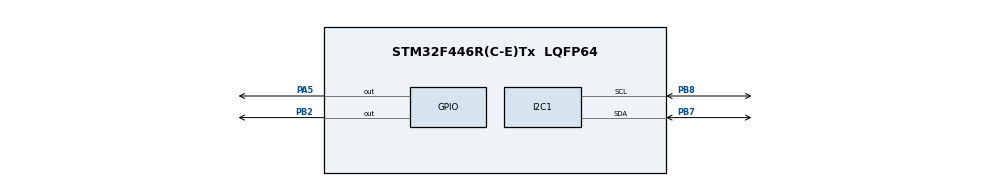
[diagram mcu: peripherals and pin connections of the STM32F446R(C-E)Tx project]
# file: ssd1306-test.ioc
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Mcu.Family=STM32F4
Mcu.Name=STM32F446R(C-E)Tx
Mcu.Package=LQFP64
NVIC.PriorityGroup=NVIC_PRIORITYGROUP_4
PA5.Signal=GPIO_Output
PB2.Signal=GPIO_Output
PB7.Mode=I2C
PB7.Signal=I2C1_SDA
PB8.Mode=I2C
PB8.Signal=I2C1_SCL
ProjectManager.HeapSize=0x200
ProjectManager.StackSize=0x400
ProjectManager.TargetToolchain=STM32CubeIDE
RCC.CortexFreq_Value=16000000
RCC.USBFreq_Value=96000000
RCC.VCOOutputFreq_Value=192000000
board=custom

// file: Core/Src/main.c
/* USER CODE BEGIN Header */
/**
  ******************************************************************************
  * @file           : main.c
  * @brief          : Main program body
  ******************************************************************************
  * @attention
  *
  * Copyright (c) 2024 STMicroelectronics.
  * All rights reserved.
  *
  * This software is licensed under terms that can be found in the LICENSE file
  * in the root directory of this software component.
  * If no LICENSE file comes with this software, it is provided AS-IS.
  *
  ******************************************************************************
  */
/* USER CODE END Header */
#include "main.h"

/* USER CODE BEGIN PD */
#include "ssd1306.h"
#include "fonts.h"
/* USER CODE END PD */

I2C_HandleTypeDef hi2c1;

void SystemClock_Config(void);
static void MX_GPIO_Init(void);
static void MX_I2C1_Init(void);

int main(void)
{

  /* MCU Configuration--------------------------------------------------------*/

  /* Reset of all peripherals, Initializes the Flash interface and the Systick. */
  HAL_Init();

  /* Configure the system clock */
  SystemClock_Config();

  /* Initialize all configured peripherals */
  MX_GPIO_Init();
  MX_I2C1_Init();
  /* USER CODE BEGIN 2 */
  	ssd1306_Init(&hi2c1);
	HAL_Delay(1000);
	ssd1306_Fill(Black);
	ssd1306_UpdateScreen(&hi2c1);

	HAL_Delay(1000);
	ssd1306_SetCursor(7,13);
	ssd1306_WriteString("Tomoshibi",Font_11x18,White);
	ssd1306_SetCursor(12,33);
	ssd1306_WriteString("Technology",Font_11x18,Black);

	ssd1306_UpdateScreen(&hi2c1);
  /* USER CODE END 2 */

  /* Infinite loop */
  /* USER CODE BEGIN WHILE */
HAL_GPIO_WritePin(GPIOA, GPIO_PIN_5, GPIO_PIN_SET);
  while (1)
  {
	HAL_GPIO_TogglePin(GPIOA, GPIO_PIN_5);
	HAL_GPIO_TogglePin(GPIOB, GPIO_PIN_2);
	HAL_Delay(100);
    /* USER CODE END WHILE */

  }
}

void SystemClock_Config(void)
{
  RCC_OscInitTypeDef RCC_OscInitStruct = {0};
  RCC_ClkInitTypeDef RCC_ClkInitStruct = {0};

  /** Configure the main internal regulator output voltage
  */
  __HAL_RCC_PWR_CLK_ENABLE();
  __HAL_PWR_VOLTAGESCALING_CONFIG(PWR_REGULATOR_VOLTAGE_SCALE3);

  /** Initializes the RCC Oscillators according to the specified parameters
  * in the RCC_OscInitTypeDef structure.
  */
  RCC_OscInitStruct.OscillatorType = RCC_OSCILLATORTYPE_HSI;
  RCC_OscInitStruct.HSIState = RCC_HSI_ON;
  RCC_OscInitStruct.HSICalibrationValue = RCC_HSICALIBRATION_DEFAULT;
  RCC_OscInitStruct.PLL.PLLState = RCC_PLL_NONE;
  if (HAL_RCC_OscConfig(&RCC_OscInitStruct) != HAL_OK)
  {
    Error_Handler();
  }

  /** Initializes the CPU, AHB and APB buses clocks
  */
  RCC_ClkInitStruct.ClockType = RCC_CLOCKTYPE_HCLK|RCC_CLOCKTYPE_SYSCLK
                              |RCC_CLOCKTYPE_PCLK1|RCC_CLOCKTYPE_PCLK2;
  RCC_ClkInitStruct.SYSCLKSource = RCC_SYSCLKSOURCE_HSI;
  RCC_ClkInitStruct.AHBCLKDivider = RCC_SYSCLK_DIV1;
  RCC_ClkInitStruct.APB1CLKDivider = RCC_HCLK_DIV1;
  RCC_ClkInitStruct.APB2CLKDivider = RCC_HCLK_DIV1;

  if (HAL_RCC_ClockConfig(&RCC_ClkInitStruct, FLASH_LATENCY_0) != HAL_OK)
  {
    Error_Handler();
  }
}

static void MX_I2C1_Init(void)
{

  hi2c1.Instance = I2C1;
  hi2c1.Init.ClockSpeed = 100000;
  hi2c1.Init.DutyCycle = I2C_DUTYCYCLE_2;
  hi2c1.Init.OwnAddress1 = 0;
  hi2c1.Init.AddressingMode = I2C_ADDRESSINGMODE_7BIT;
  hi2c1.Init.DualAddressMode = I2C_DUALADDRESS_DISABLE;
  hi2c1.Init.OwnAddress2 = 0;
  hi2c1.Init.GeneralCallMode = I2C_GENERALCALL_DISABLE;
  hi2c1.Init.NoStretchMode = I2C_NOSTRETCH_DISABLE;
  if (HAL_I2C_Init(&hi2c1) != HAL_OK)
  {
    Error_Handler();
  }

}

static void MX_GPIO_Init(void)
{
  GPIO_InitTypeDef GPIO_InitStruct = {0};

  /* GPIO Ports Clock Enable */
  __HAL_RCC_GPIOA_CLK_ENABLE();
  __HAL_RCC_GPIOB_CLK_ENABLE();

  /*Configure GPIO pin Output Level */
  HAL_GPIO_WritePin(GPIOA, GPIO_PIN_5, GPIO_PIN_RESET);

  /*Configure GPIO pin Output Level */
  HAL_GPIO_WritePin(GPIOB, GPIO_PIN_2, GPIO_PIN_RESET);

  /*Configure GPIO pin : PA5 */
  GPIO_InitStruct.Pin = GPIO_PIN_5;
  GPIO_InitStruct.Mode = GPIO_MODE_OUTPUT_PP;
  GPIO_InitStruct.Pull = GPIO_NOPULL;
  GPIO_InitStruct.Speed = GPIO_SPEED_FREQ_LOW;
  HAL_GPIO_Init(GPIOA, &GPIO_InitStruct);

  /*Configure GPIO pin : PB2 */
  GPIO_InitStruct.Pin = GPIO_PIN_2;
  GPIO_InitStruct.Mode = GPIO_MODE_OUTPUT_PP;
  GPIO_InitStruct.Pull = GPIO_NOPULL;
  GPIO_InitStruct.Speed = GPIO_SPEED_FREQ_LOW;
  HAL_GPIO_Init(GPIOB, &GPIO_InitStruct);

}

void Error_Handler(void)
{
  __disable_irq();
  while (1)
  {
  }
}
